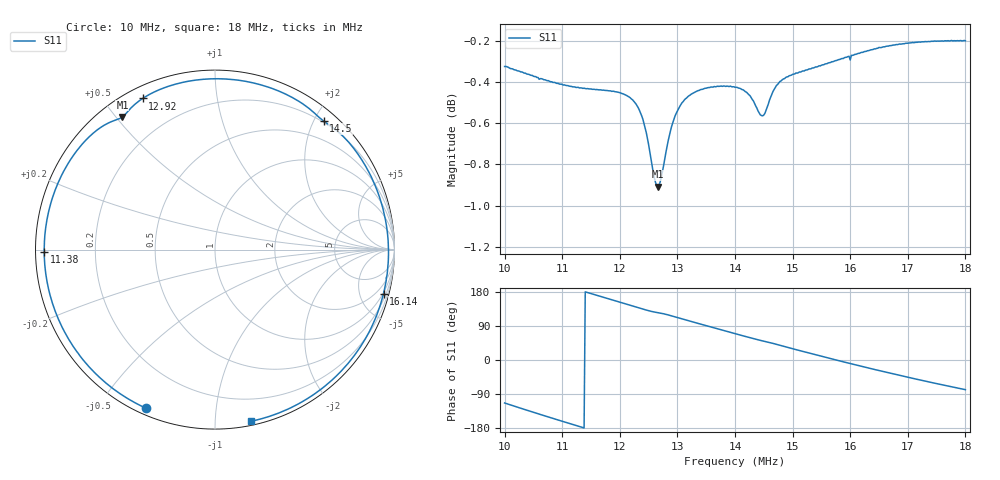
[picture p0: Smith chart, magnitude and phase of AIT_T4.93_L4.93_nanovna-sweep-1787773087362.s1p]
! S11 from AIT_T4.93_L4.93_nanovna-sweep-1787773087362.txt, converted by the rf-network-modeller history importer
# HZ S RI R 50
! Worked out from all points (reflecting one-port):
!   401 points, 10 MHz to 18 MHz, reference 50 ohm
!   lowest |S11| = -0.9 dB at 12.66 MHz (marker M1), VSWR 19.15, Z = 3.32 + j26 ohm
!   phase of S11 starts at -113 deg and turns -325 deg over the sweep
!   S11 on the Smith chart (normalised r, x): 10 MHz: 0.03, -0.66; 11.38 MHz: 0.02, -0.01; 12.92 MHz: 0.05, +0.63; 14.5 MHz: 0.18, +2.14; 16.14 MHz: 0.91, -7.69; 18 MHz: 0.03, -1.23
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1e7  -0.3835 -0.8838
1.024e7  -0.5558 -0.784
1.054e7  -0.7326 -0.6173
1.078e7  -0.8382 -0.4586
1.1e7  -0.9054 -0.2999
1.138e7  -0.9517 -0.0121
1.168e7  -0.9266 0.2133
1.2e7  -0.8428 0.4371
1.238e7  -0.6668 0.6585
1.266e7  -0.5159 0.7384
1.292e7  -0.4028 0.8423
1.3e7  -0.353 0.8709
1.324e7  -0.1916 0.929
1.348e7  -0.0237 0.9514
1.374e7  0.1572 0.9398
1.4e7  0.3316 0.8927
1.428e7  0.5022 0.8026
1.45e7  0.605 0.7163
1.47e7  0.7061 0.6387
1.5e7  0.8326 0.4762
1.526e7  0.9074 0.3182
1.55e7  0.9498 0.165
1.6e7  0.9538 -0.1587
1.614e7  0.9391 -0.2449
1.654e7  0.8494 -0.476
1.7e7  0.6845 -0.6958
1.75e7  0.4542 -0.8652
1.8e7  0.1983 -0.957
